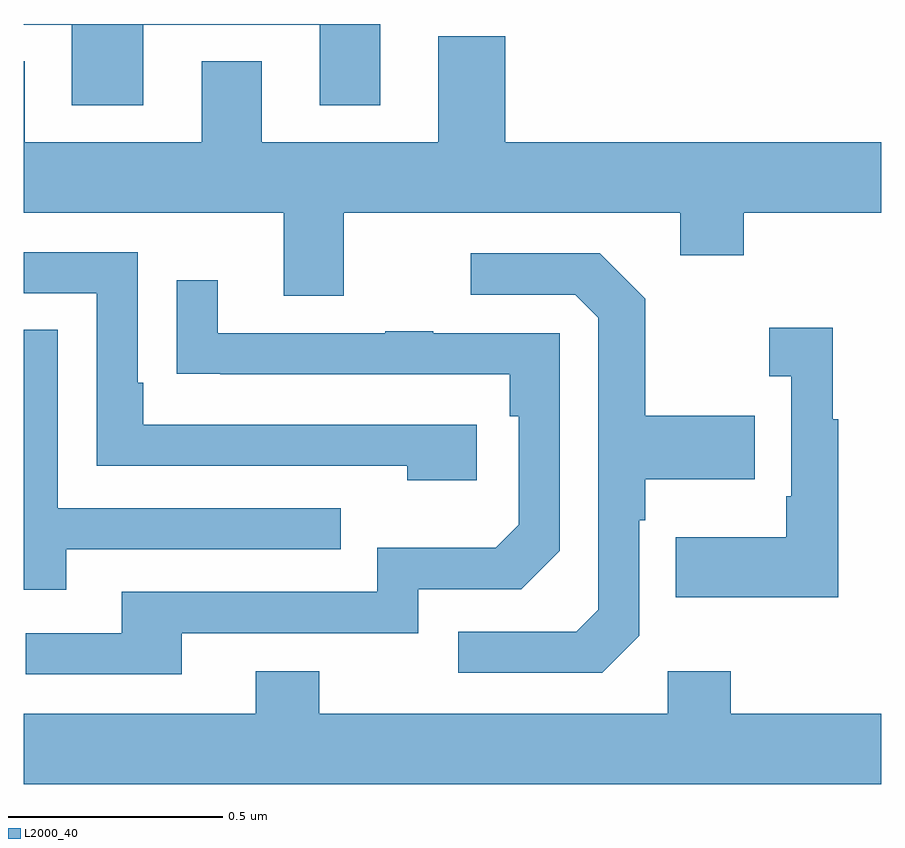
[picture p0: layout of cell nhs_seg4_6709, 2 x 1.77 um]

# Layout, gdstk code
import gdstk
lib = gdstk.Library(unit=1e-6, precision=1e-09)
def P(c, l, *ps):  # polygons
    for p in ps: c.add(gdstk.Polygon(p, *l))
L2000_40 = (2000, 40)

nhs_seg4_6709 = lib.new_cell('nhs_seg4_6709')
P(nhs_seg4_6709, L2000_40, [(193.279,823.898),(193.691,823.898),(193.691,823.71),(193.831,823.71),(193.831,823.9),(193,823.9),(193,823.898),(193.112,823.898),(193.112,823.71),(193.279,823.71)],
  [(193.747,823.46),(194.531,823.46),(194.531,823.361),(194.679,823.361),(194.679,823.46),(195,823.46),(195,823.624),(194.123,823.624),(194.123,823.872),(193.967,823.872),(193.967,823.624),(193.555,823.624),(193.555,823.813),(193.415,823.813),(193.415,823.624),(193.003,823.624),(193.003,823.813),(193,823.813),(193,823.46),(193.607,823.46),(193.607,823.266),(193.747,823.266)],
  [(194.056,822.966),(193.279,822.966),(193.279,823.063),(193.266,823.063),(193.266,823.368),(193,823.368),(193,823.272),(193.17,823.272),(193.17,822.87),(193.895,822.87),(193.895,822.836),(194.056,822.836)],
  [(194.436,822.474),(194.436,822.743),(194.449,822.743),(194.449,822.839),(194.705,822.839),(194.705,822.987),(194.449,822.987),(194.449,823.259),(194.343,823.365),(194.043,823.365),(194.043,823.269),(194.286,823.269),(194.34,823.215),(194.34,822.534),(194.289,822.483),(194.013,822.483),(194.013,822.387),(194.349,822.387)],
  [(193.369,822.48),(193.92,822.48),(193.92,822.582),(194.16,822.582),(194.25,822.672),(194.25,823.179),(193.955,823.179),(193.955,823.184),(193.843,823.184),(193.843,823.179),(193.453,823.179),(193.453,823.303),(193.357,823.303),(193.357,823.084),(193.459,823.084),(193.459,823.083),(194.134,823.083),(194.134,822.986),(194.154,822.986),(194.154,822.732),(194.101,822.679),(193.824,822.679),(193.824,822.576),(193.229,822.576),(193.229,822.48),(193.005,822.48),(193.005,822.384),(193.369,822.384)],
  [(194.899,822.979),(194.887,822.979),(194.887,823.192),(194.739,823.192),(194.739,823.079),(194.79,823.079),(194.79,822.799),(194.778,822.799),(194.778,822.703),(194.521,822.703),(194.521,822.563),(194.899,822.563)],
  [(193.099,822.675),(193.739,822.675),(193.739,822.771),(193.08,822.771),(193.08,823.187),(193,823.187),(193,822.581),(193.099,822.581)],
  [(195,822.292),(194.649,822.292),(194.649,822.391),(194.502,822.391),(194.502,822.292),(193.689,822.292),(193.689,822.391),(193.541,822.391),(193.541,822.292),(193,822.292),(193,822.128),(195,822.128)])

lib.write_gds('nhs_seg4_6709.gds')
